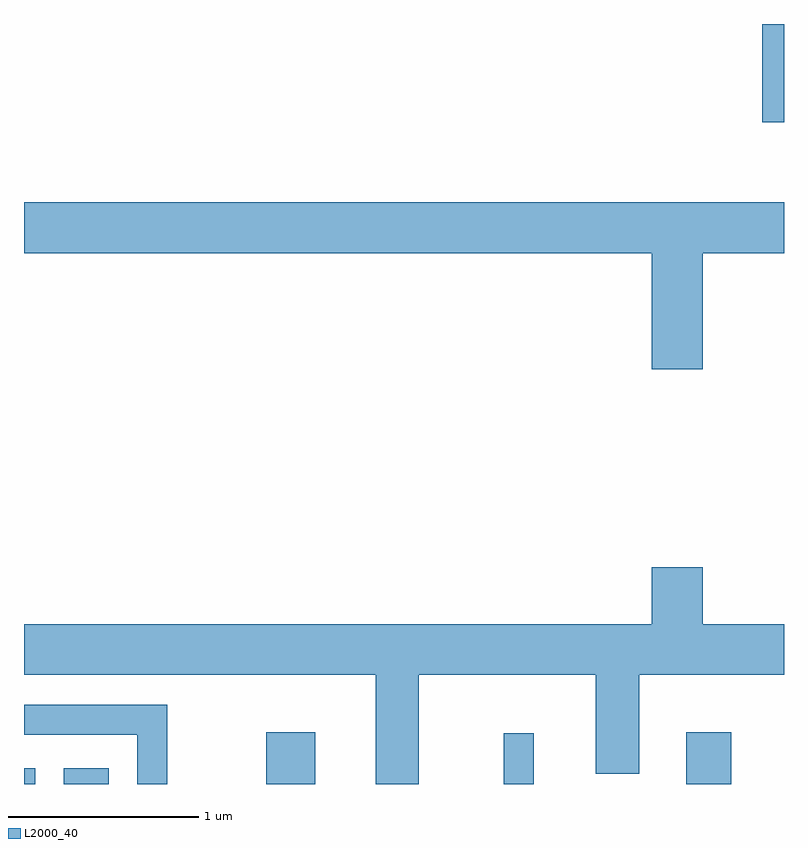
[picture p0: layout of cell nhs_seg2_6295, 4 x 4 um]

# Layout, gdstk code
import gdstk
lib = gdstk.Library(unit=1e-6, precision=1e-09)
def R(c, l, rs):  # rectangles x0, y0, x1, y1
    for r in rs: c.add(gdstk.rectangle(r[:2], r[2:], *l))
def P(c, l, *ps):  # polygons
    for p in ps: c.add(gdstk.Polygon(p, *l))
L2000_40 = (2000, 40)

nhs_seg2_6295 = lib.new_cell('nhs_seg2_6295')
R(nhs_seg2_6295, L2000_40, [(371.611,987.802,371.669,987.884), (371.821,987.802,372.058,987.884), (372.886,987.802,373.144,988.074), (374.136,987.802,374.294,988.068), (375.096,987.802,375.334,988.074), (375.496,991.286,375.611,991.802)])
P(nhs_seg2_6295, L2000_40, [(375.184,990.596),(375.611,990.596),(375.611,990.864),(371.611,990.864),(371.611,990.596),(374.916,990.596),(374.916,989.986),(375.184,989.986)],
  [(373.689,988.376),(374.621,988.376),(374.621,987.856),(374.849,987.856),(374.849,988.376),(375.611,988.376),(375.611,988.644),(375.184,988.644),(375.184,988.944),(374.916,988.944),(374.916,988.644),(371.611,988.644),(371.611,988.376),(373.461,988.376),(373.461,987.802),(373.689,987.802)],
  [(372.364,988.219),(371.611,988.219),(371.611,988.061),(372.206,988.061),(372.206,987.802),(372.364,987.802)])

lib.write_gds('nhs_seg2_6295.gds')
